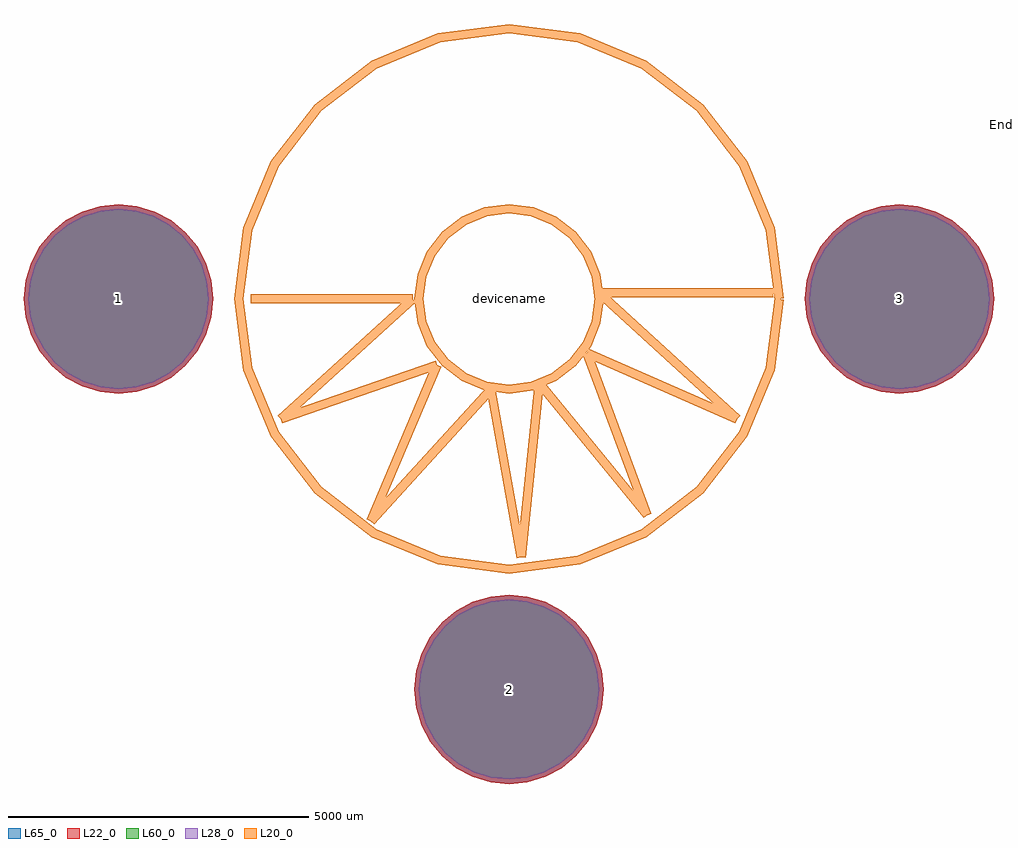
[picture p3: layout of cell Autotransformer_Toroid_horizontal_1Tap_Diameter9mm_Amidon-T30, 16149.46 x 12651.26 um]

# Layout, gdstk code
import gdstk
lib = gdstk.Library(unit=1e-6, precision=1e-09)
def P(c, l, *ps):  # polygons
    for p in ps: c.add(gdstk.Polygon(p, *l))
L20_0 = (20, 0)
L22_0 = (22, 0)
L28_0 = (28, 0)
L60_0 = (60, 0)
L65_0 = (65, 0)

autotransformer_toroid_h = lib.new_cell('Autotransformer_Toroid_horizontal_1Tap_Diameter9mm_Amidon-T30')
P(autotransformer_toroid_h, L22_0, [(1574.87,-6499.86),(1544.609,-6192.618),(1454.99,-5897.183),(1309.457,-5624.909),(1113.601,-5386.259),(874.951,-5190.403),(602.677,-5044.87),(307.242,-4955.251),(0,-4924.99),(-307.242,-4955.251),(-602.677,-5044.87),(-874.951,-5190.403),(-1113.601,-5386.259),(-1309.457,-5624.909),(-1454.99,-5897.183),(-1544.609,-6192.618),(-1574.87,-6499.86),(-1544.609,-6807.102),(-1454.99,-7102.537),(-1309.457,-7374.811),(-1113.601,-7613.461),(-874.951,-7809.317),(-602.677,-7954.85),(-307.242,-8044.469),(0,-8074.73),(307.242,-8044.469),(602.677,-7954.85),(874.951,-7809.317),(1113.601,-7613.461),(1309.457,-7374.811),(1454.99,-7102.537),(1544.609,-6807.102)],
  [(8074.73,0),(8044.469,307.242),(7954.85,602.677),(7809.317,874.951),(7613.461,1113.601),(7374.811,1309.457),(7102.537,1454.99),(6807.102,1544.609),(6499.86,1574.87),(6192.618,1544.609),(5897.183,1454.99),(5624.909,1309.457),(5386.259,1113.601),(5190.403,874.951),(5044.87,602.677),(4955.251,307.242),(4924.99,0),(4955.251,-307.242),(5044.87,-602.677),(5190.403,-874.951),(5386.259,-1113.601),(5624.909,-1309.457),(5897.183,-1454.99),(6192.618,-1544.609),(6499.86,-1574.87),(6807.102,-1544.609),(7102.537,-1454.99),(7374.811,-1309.457),(7613.461,-1113.601),(7809.317,-874.951),(7954.85,-602.677),(8044.469,-307.242)],
  [(-4924.99,0),(-4955.251,307.242),(-5044.87,602.677),(-5190.403,874.951),(-5386.259,1113.601),(-5624.909,1309.457),(-5897.183,1454.99),(-6192.618,1544.609),(-6499.86,1574.87),(-6807.102,1544.609),(-7102.537,1454.99),(-7374.811,1309.457),(-7613.461,1113.601),(-7809.317,874.951),(-7954.85,602.677),(-8044.469,307.242),(-8074.73,0),(-8044.469,-307.242),(-7954.85,-602.677),(-7809.317,-874.951),(-7613.461,-1113.601),(-7374.811,-1309.457),(-7102.537,-1454.99),(-6807.102,-1544.609),(-6499.86,-1574.87),(-6192.618,-1544.609),(-5897.183,-1454.99),(-5624.909,-1309.457),(-5386.259,-1113.601),(-5190.403,-874.951),(-5044.87,-602.677),(-4955.251,-307.242)])
P(autotransformer_toroid_h, L28_0, [(1499.87,-6499.86),(1471.05,-6207.25),(1385.699,-5925.885),(1247.096,-5666.577),(1060.568,-5439.292),(833.283,-5252.764),(573.975,-5114.161),(292.61,-5028.81),(0,-4999.99),(-292.61,-5028.81),(-573.975,-5114.161),(-833.283,-5252.764),(-1060.568,-5439.292),(-1247.096,-5666.577),(-1385.699,-5925.885),(-1471.05,-6207.25),(-1499.87,-6499.86),(-1471.05,-6792.47),(-1385.699,-7073.835),(-1247.096,-7333.143),(-1060.568,-7560.428),(-833.283,-7746.956),(-573.975,-7885.559),(-292.61,-7970.91),(0,-7999.73),(292.61,-7970.91),(573.975,-7885.559),(833.283,-7746.956),(1060.568,-7560.428),(1247.096,-7333.143),(1385.699,-7073.835),(1471.05,-6792.47)],
  [(7999.73,0),(7970.91,292.61),(7885.559,573.975),(7746.956,833.283),(7560.428,1060.568),(7333.143,1247.096),(7073.835,1385.699),(6792.47,1471.05),(6499.86,1499.87),(6207.25,1471.05),(5925.885,1385.699),(5666.577,1247.096),(5439.292,1060.568),(5252.764,833.283),(5114.161,573.975),(5028.81,292.61),(4999.99,0),(5028.81,-292.61),(5114.161,-573.975),(5252.764,-833.283),(5439.292,-1060.568),(5666.577,-1247.096),(5925.885,-1385.699),(6207.25,-1471.05),(6499.86,-1499.87),(6792.47,-1471.05),(7073.835,-1385.699),(7333.143,-1247.096),(7560.428,-1060.568),(7746.956,-833.283),(7885.559,-573.975),(7970.91,-292.61)],
  [(-4999.99,0),(-5028.81,292.61),(-5114.161,573.975),(-5252.764,833.283),(-5439.292,1060.568),(-5666.577,1247.096),(-5925.885,1385.699),(-6207.25,1471.05),(-6499.86,1499.87),(-6792.47,1471.05),(-7073.835,1385.699),(-7333.143,1247.096),(-7560.428,1060.568),(-7746.956,833.283),(-7885.559,573.975),(-7970.91,292.61),(-7999.73,0),(-7970.91,-292.61),(-7885.559,-573.975),(-7746.956,-833.283),(-7560.428,-1060.568),(-7333.143,-1247.096),(-7073.835,-1385.699),(-6792.47,-1471.05),(-6499.86,-1499.87),(-6207.25,-1471.05),(-5925.885,-1385.699),(-5666.577,-1247.096),(-5439.292,-1060.568),(-5252.764,-833.283),(-5114.161,-573.975),(-5028.81,-292.61)])
P(autotransformer_toroid_h, L60_0, [(1499.87,-6499.86),(1471.05,-6207.25),(1385.699,-5925.885),(1247.096,-5666.577),(1060.568,-5439.292),(833.283,-5252.764),(573.975,-5114.161),(292.61,-5028.81),(0,-4999.99),(-292.61,-5028.81),(-573.975,-5114.161),(-833.283,-5252.764),(-1060.568,-5439.292),(-1247.096,-5666.577),(-1385.699,-5925.885),(-1471.05,-6207.25),(-1499.87,-6499.86),(-1471.05,-6792.47),(-1385.699,-7073.835),(-1247.096,-7333.143),(-1060.568,-7560.428),(-833.283,-7746.956),(-573.975,-7885.559),(-292.61,-7970.91),(0,-7999.73),(292.61,-7970.91),(573.975,-7885.559),(833.283,-7746.956),(1060.568,-7560.428),(1247.096,-7333.143),(1385.699,-7073.835),(1471.05,-6792.47)],
  [(7999.73,0),(7970.91,292.61),(7885.559,573.975),(7746.956,833.283),(7560.428,1060.568),(7333.143,1247.096),(7073.835,1385.699),(6792.47,1471.05),(6499.86,1499.87),(6207.25,1471.05),(5925.885,1385.699),(5666.577,1247.096),(5439.292,1060.568),(5252.764,833.283),(5114.161,573.975),(5028.81,292.61),(4999.99,0),(5028.81,-292.61),(5114.161,-573.975),(5252.764,-833.283),(5439.292,-1060.568),(5666.577,-1247.096),(5925.885,-1385.699),(6207.25,-1471.05),(6499.86,-1499.87),(6792.47,-1471.05),(7073.835,-1385.699),(7333.143,-1247.096),(7560.428,-1060.568),(7746.956,-833.283),(7885.559,-573.975),(7970.91,-292.61)],
  [(-4999.99,0),(-5028.81,292.61),(-5114.161,573.975),(-5252.764,833.283),(-5439.292,1060.568),(-5666.577,1247.096),(-5925.885,1385.699),(-6207.25,1471.05),(-6499.86,1499.87),(-6792.47,1471.05),(-7073.835,1385.699),(-7333.143,1247.096),(-7560.428,1060.568),(-7746.956,833.283),(-7885.559,573.975),(-7970.91,292.61),(-7999.73,0),(-7970.91,-292.61),(-7885.559,-573.975),(-7746.956,-833.283),(-7560.428,-1060.568),(-7333.143,-1247.096),(-7073.835,-1385.699),(-6792.47,-1471.05),(-6499.86,-1499.87),(-6207.25,-1471.05),(-5925.885,-1385.699),(-5666.577,-1247.096),(-5439.292,-1060.568),(-5252.764,-833.283),(-5114.161,-573.975),(-5028.81,-292.61)])
P(autotransformer_toroid_h, L65_0, [(1574.87,-6499.86),(1544.609,-6192.618),(1454.99,-5897.183),(1309.457,-5624.909),(1113.601,-5386.259),(874.951,-5190.403),(602.677,-5044.87),(307.242,-4955.251),(0,-4924.99),(-307.242,-4955.251),(-602.677,-5044.87),(-874.951,-5190.403),(-1113.601,-5386.259),(-1309.457,-5624.909),(-1454.99,-5897.183),(-1544.609,-6192.618),(-1574.87,-6499.86),(-1544.609,-6807.102),(-1454.99,-7102.537),(-1309.457,-7374.811),(-1113.601,-7613.461),(-874.951,-7809.317),(-602.677,-7954.85),(-307.242,-8044.469),(0,-8074.73),(307.242,-8044.469),(602.677,-7954.85),(874.951,-7809.317),(1113.601,-7613.461),(1309.457,-7374.811),(1454.99,-7102.537),(1544.609,-6807.102)],
  [(8074.73,0),(8044.469,307.242),(7954.85,602.677),(7809.317,874.951),(7613.461,1113.601),(7374.811,1309.457),(7102.537,1454.99),(6807.102,1544.609),(6499.86,1574.87),(6192.618,1544.609),(5897.183,1454.99),(5624.909,1309.457),(5386.259,1113.601),(5190.403,874.951),(5044.87,602.677),(4955.251,307.242),(4924.99,0),(4955.251,-307.242),(5044.87,-602.677),(5190.403,-874.951),(5386.259,-1113.601),(5624.909,-1309.457),(5897.183,-1454.99),(6192.618,-1544.609),(6499.86,-1574.87),(6807.102,-1544.609),(7102.537,-1454.99),(7374.811,-1309.457),(7613.461,-1113.601),(7809.317,-874.951),(7954.85,-602.677),(8044.469,-307.242)],
  [(-4924.99,0),(-4955.251,307.242),(-5044.87,602.677),(-5190.403,874.951),(-5386.259,1113.601),(-5624.909,1309.457),(-5897.183,1454.99),(-6192.618,1544.609),(-6499.86,1574.87),(-6807.102,1544.609),(-7102.537,1454.99),(-7374.811,1309.457),(-7613.461,1113.601),(-7809.317,874.951),(-7954.85,602.677),(-8044.469,307.242),(-8074.73,0),(-8044.469,-307.242),(-7954.85,-602.677),(-7809.317,-874.951),(-7613.461,-1113.601),(-7374.811,-1309.457),(-7102.537,-1454.99),(-6807.102,-1544.609),(-6499.86,-1574.87),(-6192.618,-1544.609),(-5897.183,-1454.99),(-5624.909,-1309.457),(-5386.259,-1113.601),(-5190.403,-874.951),(-5044.87,-602.677),(-4955.251,-307.242)])
autotransformer_toroid_h.add(gdstk.FlexPath([(4500.88,0),(4347.516,1164.913),(3897.876,2250.44),(3182.603,3182.603),(2250.44,3897.876),(1164.913,4347.516),(0,4500.88),(-1164.913,4347.516),(-2250.44,3897.876),(-3182.603,3182.603),(-3897.876,2250.44),(-4347.516,1164.913),(-4500.88,0),(-4347.516,-1164.913),(-3897.876,-2250.44),(-3182.603,-3182.603),(-2250.44,-3897.876),(-1164.913,-4347.516),(0,-4500.88),(1164.913,-4347.516),(2250.44,-3897.876),(3182.603,-3182.603),(3897.876,-2250.44),(4347.516,-1164.913),(4500.88,0)], 149.998, ends="flush", simple_path=True, layer=20, datatype=0))  # L20_0
autotransformer_toroid_h.add(gdstk.FlexPath([(1501.14,0),(1449.99,388.524),(1300.025,750.57),(1061.466,1061.466),(750.57,1300.025),(388.524,1449.99),(0,1501.14),(-388.524,1449.99),(-750.57,1300.025),(-1061.466,1061.466),(-1300.025,750.57),(-1449.99,388.524),(-1501.14,0),(-1449.99,-388.524),(-1300.025,-750.57),(-1061.466,-1061.466),(-750.57,-1300.025),(-388.524,-1449.99),(0,-1501.14),(388.524,-1449.99),(750.57,-1300.025),(1061.466,-1061.466),(1300.025,-750.57),(1449.99,-388.524),(1501.14,0)], 149.998, ends="flush", simple_path=True, layer=20, datatype=0))  # L20_0
autotransformer_toroid_h.add(gdstk.FlexPath([(1501.14,99.06),(4399.28,99.06)], 149.998, ends="flush", simple_path=True, layer=20, datatype=0))  # L20_0
autotransformer_toroid_h.add(gdstk.FlexPath([(3799.84,-1998.98),(1501.14,99.06)], 149.998, ends="flush", simple_path=True, layer=20, datatype=0))  # L20_0
autotransformer_toroid_h.add(gdstk.FlexPath([(1300.48,-899.16),(3799.84,-1998.98)], 149.998, ends="flush", simple_path=True, layer=20, datatype=0))  # L20_0
autotransformer_toroid_h.add(gdstk.FlexPath([(2301.24,-3599.18),(1300.48,-899.16)], 149.998, ends="flush", simple_path=True, layer=20, datatype=0))  # L20_0
autotransformer_toroid_h.add(gdstk.FlexPath([(500.38,-1399.54),(2301.24,-3599.18)], 149.998, ends="flush", simple_path=True, layer=20, datatype=0))  # L20_0
autotransformer_toroid_h.add(gdstk.FlexPath([(200.66,-4300.22),(500.38,-1399.54)], 149.998, ends="flush", simple_path=True, layer=20, datatype=0))  # L20_0
autotransformer_toroid_h.add(gdstk.FlexPath([(-299.72,-1501.14),(200.66,-4300.22)], 149.998, ends="flush", simple_path=True, layer=20, datatype=0))  # L20_0
autotransformer_toroid_h.add(gdstk.FlexPath([(-2301.24,-3700.78),(-299.72,-1501.14)], 149.998, ends="flush", simple_path=True, layer=20, datatype=0))  # L20_0
autotransformer_toroid_h.add(gdstk.FlexPath([(-1198.88,-1099.82),(-2301.24,-3700.78)], 149.998, ends="flush", simple_path=True, layer=20, datatype=0))  # L20_0
autotransformer_toroid_h.add(gdstk.FlexPath([(-3799.84,-1998.98),(-1198.88,-1099.82)], 149.998, ends="flush", simple_path=True, layer=20, datatype=0))  # L20_0
autotransformer_toroid_h.add(gdstk.FlexPath([(-1600.2,0),(-3799.84,-1998.98)], 149.998, ends="flush", simple_path=True, layer=20, datatype=0))  # L20_0
autotransformer_toroid_h.add(gdstk.FlexPath([(-4300.22,0),(-1600.2,0)], 149.998, ends="flush", simple_path=True, layer=20, datatype=0))  # L20_0
autotransformer_toroid_h.add(gdstk.Label('2', (0,-6499.86), layer=28, texttype=0))
autotransformer_toroid_h.add(gdstk.Label('3', (6499.86,0), layer=28, texttype=0))
autotransformer_toroid_h.add(gdstk.Label('1', (-6499.86,0), layer=28, texttype=0))
autotransformer_toroid_h.add(gdstk.Label('Start', (-8600.44,2900.68), layer=9, texttype=0))
autotransformer_toroid_h.add(gdstk.Label('End', (8199.12,2900.68), layer=9, texttype=0))
autotransformer_toroid_h.add(gdstk.Label('type', (1270,-10160), layer=9, texttype=0))
autotransformer_toroid_h.add(gdstk.Label('devicename', (0,0), layer=9, texttype=0))

lib.write_gds('Autotransformer_Toroid_horizontal_1Tap_Diameter9mm_Amidon-T30.gds')
